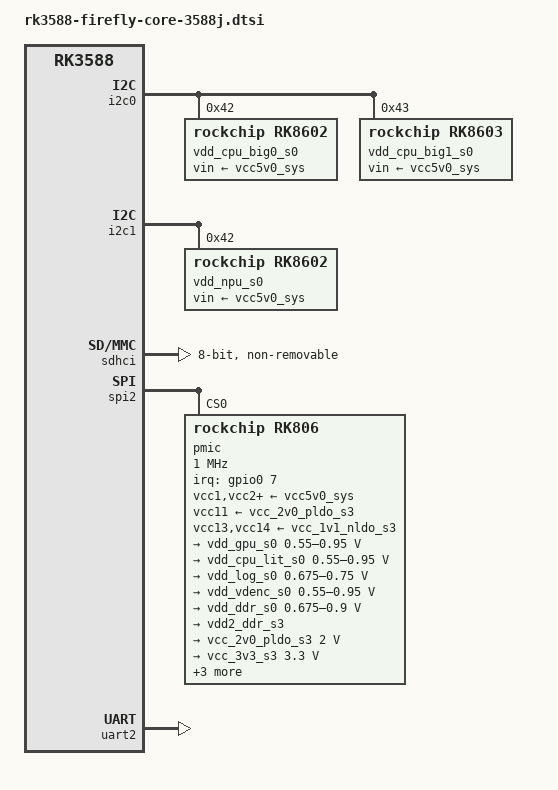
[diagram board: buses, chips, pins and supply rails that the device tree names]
// SPDX-License-Identifier: (GPL-2.0+ OR MIT)

#include <dt-bindings/gpio/gpio.h>
#include <dt-bindings/pinctrl/rockchip.h>

#include "rk3588.dtsi"

/ {
	compatible = "firefly,core-3588j", "rockchip,rk3588";

	aliases {
		mmc0 = &sdhci;
	};
};

&cpu_b0 {
	cpu-supply = <&vdd_cpu_big0_s0>;
};

&cpu_b1 {
	cpu-supply = <&vdd_cpu_big0_s0>;
};

&cpu_b2 {
	cpu-supply = <&vdd_cpu_big1_s0>;
};

&cpu_b3 {
	cpu-supply = <&vdd_cpu_big1_s0>;
};

&cpu_l0 {
	cpu-supply = <&vdd_cpu_lit_s0>;
};

&cpu_l1 {
	cpu-supply = <&vdd_cpu_lit_s0>;
};

&cpu_l2 {
	cpu-supply = <&vdd_cpu_lit_s0>;
};

&cpu_l3 {
	cpu-supply = <&vdd_cpu_lit_s0>;
};

&i2c0 {
	pinctrl-names = "default";
	pinctrl-0 = <&i2c0m2_xfer>;
	status = "okay";

	vdd_cpu_big0_s0: regulator@42 {
		compatible = "rockchip,rk8602";
		reg = <0x42>;
		fcs,suspend-voltage-selector = <1>;
		regulator-always-on;
		regulator-boot-on;
		regulator-min-microvolt = <550000>;
		regulator-max-microvolt = <1050000>;
		regulator-name = "vdd_cpu_big0_s0";
		regulator-ramp-delay = <2300>;
		vin-supply = <&vcc5v0_sys>;

		regulator-state-mem {
			regulator-off-in-suspend;
		};
	};

	vdd_cpu_big1_s0: regulator@43 {
		compatible = "rockchip,rk8603", "rockchip,rk8602";
		reg = <0x43>;
		fcs,suspend-voltage-selector = <1>;
		regulator-name = "vdd_cpu_big1_s0";
		regulator-always-on;
		regulator-boot-on;
		regulator-min-microvolt = <550000>;
		regulator-max-microvolt = <1050000>;
		regulator-ramp-delay = <2300>;
		vin-supply = <&vcc5v0_sys>;

		regulator-state-mem {
			regulator-off-in-suspend;
		};
	};
};

&i2c1 {
	pinctrl-names = "default";
	pinctrl-0 = <&i2c1m2_xfer>;
	status = "okay";

	vdd_npu_s0: vdd_npu_mem_s0: regulator@42 {
		compatible = "rockchip,rk8602";
		reg = <0x42>;
		fcs,suspend-voltage-selector = <1>;
		regulator-always-on;
		regulator-boot-on;
		regulator-min-microvolt = <550000>;
		regulator-max-microvolt = <950000>;
		regulator-name = "vdd_npu_s0";
		regulator-ramp-delay = <2300>;
		vin-supply = <&vcc5v0_sys>;

		regulator-state-mem {
			regulator-off-in-suspend;
		};
	};
};

&pd_gpu {
	domain-supply = <&vdd_gpu_s0>;
};

&sdhci {
	bus-width = <8>;
	no-sdio;
	no-sd;
	non-removable;
	mmc-hs400-1_8v;
	mmc-hs400-enhanced-strobe;
	status = "okay";
};

&spi2 {
	assigned-clocks = <&cru CLK_SPI2>;
	assigned-clock-rates = <200000000>;
	num-cs = <1>;
	pinctrl-names = "default";
	pinctrl-0 = <&spi2m2_cs0 &spi2m2_pins>;
	status = "okay";

	pmic@0 {
		compatible = "rockchip,rk806";
		reg = <0x0>;
		interrupt-parent = <&gpio0>;
		interrupts = <7 IRQ_TYPE_LEVEL_LOW>;
		gpio-controller;
		#gpio-cells = <2>;
		pinctrl-names = "default";
		pinctrl-0 = <&pmic_pins>, <&rk806_dvs1_null>,
			    <&rk806_dvs2_null>, <&rk806_dvs3_null>;
		spi-max-frequency = <1000000>;
		system-power-controller;

		vcc1-supply = <&vcc5v0_sys>;
		vcc2-supply = <&vcc5v0_sys>;
		vcc3-supply = <&vcc5v0_sys>;
		vcc4-supply = <&vcc5v0_sys>;
		vcc5-supply = <&vcc5v0_sys>;
		vcc6-supply = <&vcc5v0_sys>;
		vcc7-supply = <&vcc5v0_sys>;
		vcc8-supply = <&vcc5v0_sys>;
		vcc9-supply = <&vcc5v0_sys>;
		vcc10-supply = <&vcc5v0_sys>;
		vcc11-supply = <&vcc_2v0_pldo_s3>;
		vcc12-supply = <&vcc5v0_sys>;
		vcc13-supply = <&vcc_1v1_nldo_s3>;
		vcc14-supply = <&vcc_1v1_nldo_s3>;
		vcca-supply = <&vcc5v0_sys>;

		rk806_dvs1_null: dvs1-null-pins {
			pins = "gpio_pwrctrl1";
			function = "pin_fun0";
		};

		rk806_dvs2_null: dvs2-null-pins {
			pins = "gpio_pwrctrl2";
			function = "pin_fun0";
		};

		rk806_dvs3_null: dvs3-null-pins {
			pins = "gpio_pwrctrl3";
			function = "pin_fun0";
		};

		regulators {
			vdd_gpu_s0: vdd_gpu_mem_s0: dcdc-reg1 {
				regulator-boot-on;
				regulator-min-microvolt = <550000>;
				regulator-max-microvolt = <950000>;
				regulator-ramp-delay = <12500>;
				regulator-name = "vdd_gpu_s0";
				regulator-enable-ramp-delay = <400>;

				regulator-state-mem {
					regulator-off-in-suspend;
				};
			};

			vdd_cpu_lit_s0: vdd_cpu_lit_mem_s0: dcdc-reg2 {
				regulator-always-on;
				regulator-boot-on;
				regulator-min-microvolt = <550000>;
				regulator-max-microvolt = <950000>;
				regulator-ramp-delay = <12500>;
				regulator-name = "vdd_cpu_lit_s0";

				regulator-state-mem {
					regulator-off-in-suspend;
				};
			};

			vdd_log_s0: dcdc-reg3 {
				regulator-always-on;
				regulator-boot-on;
				regulator-min-microvolt = <675000>;
				regulator-max-microvolt = <750000>;
				regulator-ramp-delay = <12500>;
				regulator-name = "vdd_log_s0";

				regulator-state-mem {
					regulator-off-in-suspend;
					regulator-suspend-microvolt = <750000>;
				};
			};

			vdd_vdenc_s0: vdd_vdenc_mem_s0: dcdc-reg4 {
				regulator-always-on;
				regulator-boot-on;
				regulator-min-microvolt = <550000>;
				regulator-max-microvolt = <950000>;
				regulator-ramp-delay = <12500>;
				regulator-name = "vdd_vdenc_s0";

				regulator-state-mem {
					regulator-off-in-suspend;
				};
			};

			vdd_ddr_s0: dcdc-reg5 {
				regulator-always-on;
				regulator-boot-on;
				regulator-min-microvolt = <675000>;
				regulator-max-microvolt = <900000>;
				regulator-ramp-delay = <12500>;
				regulator-name = "vdd_ddr_s0";

				regulator-state-mem {
					regulator-off-in-suspend;
					regulator-suspend-microvolt = <850000>;
				};
			};

			vdd2_ddr_s3: dcdc-reg6 {
				regulator-always-on;
				regulator-boot-on;
				regulator-name = "vdd2_ddr_s3";

				regulator-state-mem {
					regulator-on-in-suspend;
				};
			};

			vcc_2v0_pldo_s3: dcdc-reg7 {
				regulator-always-on;
				regulator-boot-on;
				regulator-min-microvolt = <2000000>;
				regulator-max-microvolt = <2000000>;
				regulator-name = "vdd_2v0_pldo_s3";

				regulator-state-mem {
					regulator-on-in-suspend;
					regulator-suspend-microvolt = <2000000>;
				};
			};

			vcc_3v3_s3: dcdc-reg8 {
				regulator-always-on;
				regulator-boot-on;
				regulator-min-microvolt = <3300000>;
				regulator-max-microvolt = <3300000>;
				regulator-name = "vcc_3v3_s3";

				regulator-state-mem {
					regulator-on-in-suspend;
					regulator-suspend-microvolt = <3300000>;
				};
			};

			vddq_ddr_s0: dcdc-reg9 {
				regulator-always-on;
				regulator-boot-on;
				regulator-name = "vddq_ddr_s0";

				regulator-state-mem {
					regulator-off-in-suspend;
				};
			};

			vcc_1v8_s3: dcdc-reg10 {
				regulator-always-on;
				regulator-boot-on;
				regulator-min-microvolt = <1800000>;
				regulator-max-microvolt = <1800000>;
				regulator-name = "vcc_1v8_s3";

				regulator-state-mem {
					regulator-on-in-suspend;
					regulator-suspend-microvolt = <1800000>;
				};
			};

			avcc_1v8_s0: pldo-reg1 {
				regulator-always-on;
				regulator-boot-on;
				regulator-min-microvolt = <1800000>;
				regulator-max-microvolt = <1800000>;
				regulator-name = "avcc_1v8_s0";

				regulator-state-mem {
					regulator-off-in-suspend;
				};
			};

			vcc_1v8_s0: pldo-reg2 {
				regulator-always-on;
				regulator-boot-on;
				regulator-min-microvolt = <1800000>;
				regulator-max-microvolt = <1800000>;
				regulator-name = "vcc_1v8_s0";

				regulator-state-mem {
					regulator-off-in-suspend;
					regulator-suspend-microvolt = <1800000>;
				};
			};

			avdd_1v2_s0: pldo-reg3 {
				regulator-always-on;
				regulator-boot-on;
				regulator-min-microvolt = <1200000>;
				regulator-max-microvolt = <1200000>;
				regulator-name = "avdd_1v2_s0";

				regulator-state-mem {
					regulator-off-in-suspend;
				};
			};

			avcc_3v3_s0: pldo-reg4 {
				regulator-always-on;
				regulator-boot-on;
				regulator-min-microvolt = <3300000>;
				regulator-max-microvolt = <3300000>;
				regulator-name = "avcc_3v3_s0";

				regulator-state-mem {
					regulator-off-in-suspend;
				};
			};

			vccio_sd_s0: pldo-reg5 {
				regulator-always-on;
				regulator-boot-on;
				regulator-min-microvolt = <1800000>;
				regulator-max-microvolt = <3300000>;
				regulator-name = "vccio_sd_s0";

				regulator-state-mem {
					regulator-off-in-suspend;
				};
			};

			pldo6_s3: pldo-reg6 {
				regulator-always-on;
				regulator-boot-on;
				regulator-min-microvolt = <1800000>;
				regulator-max-microvolt = <1800000>;
				regulator-name = "pldo6_s3";

				regulator-state-mem {
					regulator-on-in-suspend;
					regulator-suspend-microvolt = <1800000>;
				};
			};

			vdd_0v75_s3: nldo-reg1 {
				regulator-always-on;
				regulator-boot-on;
				regulator-min-microvolt = <750000>;
				regulator-max-microvolt = <750000>;
				regulator-name = "vdd_0v75_s3";

				regulator-state-mem {
					regulator-on-in-suspend;
					regulator-suspend-microvolt = <750000>;
				};
			};

			avdd_ddr_pll_s0: nldo-reg2 {
				regulator-always-on;
				regulator-boot-on;
				regulator-min-microvolt = <850000>;
				regulator-max-microvolt = <850000>;
				regulator-name = "avdd_ddr_pll_s0";

				regulator-state-mem {
					regulator-off-in-suspend;
					regulator-suspend-microvolt = <850000>;
				};
			};

			avdd_0v75_s0: nldo-reg3 {
				regulator-always-on;
				regulator-boot-on;
				regulator-min-microvolt = <750000>;
				regulator-max-microvolt = <750000>;
				regulator-name = "avdd_0v75_s0";

				regulator-state-mem {
					regulator-off-in-suspend;
				};
			};

			avdd_0v85_s0: nldo-reg4 {
				regulator-always-on;
				regulator-boot-on;
				regulator-min-microvolt = <850000>;
				regulator-max-microvolt = <850000>;
				regulator-name = "avdd_0v85_s0";

				regulator-state-mem {
					regulator-off-in-suspend;
				};
			};

			vdd_0v75_s0: nldo-reg5 {
				regulator-always-on;
				regulator-boot-on;
				regulator-min-microvolt = <750000>;
				regulator-max-microvolt = <750000>;
				regulator-name = "vdd_0v75_s0";

				regulator-state-mem {
					regulator-off-in-suspend;
				};
			};
		};
	};
};

/* rk3588 preferred debug out */
&uart2 {
	pinctrl-0 = <&uart2m0_xfer>;
	status = "okay";
};
